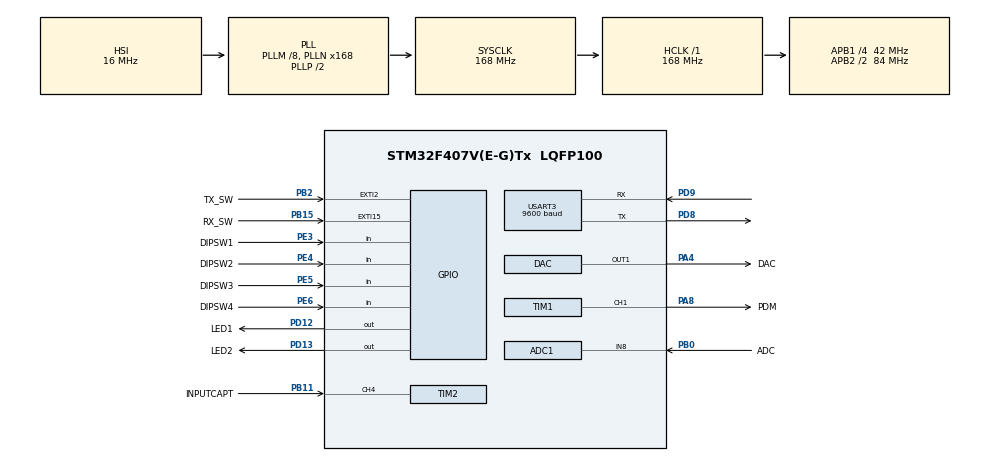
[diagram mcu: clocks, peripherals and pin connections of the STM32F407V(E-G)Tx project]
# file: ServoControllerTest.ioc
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ADC1.Channel-2\#ChannelRegularConversion=ADC_CHANNEL_8
ADC1.NbrOfConversionFlag=1
ADC1.Rank-2\#ChannelRegularConversion=1
ADC1.SamplingTime-2\#ChannelRegularConversion=ADC_SAMPLETIME_3CYCLES
ADC1.master=1
Mcu.Family=STM32F4
Mcu.Name=STM32F407V(E-G)Tx
Mcu.Package=LQFP100
NVIC.EXTI15_10_IRQn=true\:0\:0\:false\:false\:true\:true\:true
NVIC.EXTI2_IRQn=true\:0\:0\:false\:false\:true\:true\:true
NVIC.PriorityGroup=NVIC_PRIORITYGROUP_4
NVIC.TIM2_IRQn=true\:0\:0\:false\:false\:true\:true\:true
NVIC.USART3_IRQn=true\:0\:0\:false\:false\:true\:true\:true
PA13.Mode=Serial_Wire
PA13.Signal=SYS_JTMS-SWDIO
PA14.Mode=Serial_Wire
PA14.Signal=SYS_JTCK-SWCLK
PA4.GPIO_Label=DAC
PA4.Signal=COMP_DAC1_group
PA8.GPIO_Label=PDM
PA8.Signal=S_TIM1_CH1
PB0.GPIO_Label=ADC
PB0.Signal=ADCx_IN8
PB11.GPIO_Label=INPUTCAPT
PB11.Signal=S_TIM2_CH4
PB15.GPIO_Label=RX_SW
PB15.Signal=GPXTI15
PB2.GPIO_Label=TX_SW
PB2.Signal=GPXTI2
PD12.GPIO_Label=LED1
PD12.Signal=GPIO_Output
PD13.GPIO_Label=LED2
PD13.Signal=GPIO_Output
PD8.Mode=Asynchronous
PD8.Signal=USART3_TX
PD9.Mode=Asynchronous
PD9.Signal=USART3_RX
PE3.GPIO_Label=DIPSW1
PE3.Signal=GPIO_Input
PE4.GPIO_Label=DIPSW2
PE4.Signal=GPIO_Input
PE5.GPIO_Label=DIPSW3
PE5.Signal=GPIO_Input
PE6.GPIO_Label=DIPSW4
PE6.Signal=GPIO_Input
ProjectManager.HeapSize=0x200
ProjectManager.StackSize=0x400
ProjectManager.TargetToolchain=MDK-ARM V5
RCC.48MHZClocksFreq_Value=84000000
RCC.AHBFreq_Value=168000000
RCC.APB1CLKDivider=RCC_HCLK_DIV4
RCC.APB1Freq_Value=42000000
RCC.APB1TimFreq_Value=84000000
RCC.APB2CLKDivider=RCC_HCLK_DIV2
RCC.APB2Freq_Value=84000000
RCC.APB2TimFreq_Value=168000000
RCC.CortexFreq_Value=168000000
RCC.HCLKFreq_Value=168000000
RCC.HSE_VALUE=25000000
RCC.HSI_VALUE=16000000
RCC.LSE_VALUE=32768
RCC.PLLM=8
RCC.PLLN=168
RCC.SYSCLKFreq_VALUE=168000000
RCC.SYSCLKSource=RCC_SYSCLKSOURCE_PLLCLK
RCC.VCOOutputFreq_Value=336000000
SH.ADCx_IN8.0=ADC1_IN8,IN8
SH.COMP_DAC1_group.0=DAC_OUT1,DAC_OUT1
SH.S_TIM1_CH1.0=TIM1_CH1,PWM Generation1 CH1
SH.S_TIM2_CH4.0=TIM2_CH4,Input_Capture4_from_TI4
TIM1.Channel-PWM\ Generation1\ CH1=TIM_CHANNEL_1
TIM1.Period=999
TIM1.Prescaler=84
TIM1.Pulse-PWM\ Generation1\ CH1=0
TIM2.AutoReloadPreload=TIM_AUTORELOAD_PRELOAD_ENABLE
TIM2.Channel-Input_Capture4_from_TI4=TIM_CHANNEL_4
TIM2.ICPolarity_CH4=TIM_INPUTCHANNELPOLARITY_RISING
TIM2.Period=65535
TIM2.Prescaler=42
USART3.BaudRate=9600
USART3.VirtualMode=VM_ASYNC
VP_TIM1_VS_ClockSourceINT.Mode=Internal
board=custom

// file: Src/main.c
/* USER CODE BEGIN Header */
/**
  ******************************************************************************
  * @file           : main.c
  * @brief          : Main program body
  ******************************************************************************
  * @attention
  *
  * <h2><center>&copy; Copyright (c) 2019 STMicroelectronics.
  * All rights reserved.</center></h2>
  *
  * This software component is licensed by ST under BSD 3-Clause license,
  * the "License"; You may not use this file except in compliance with the
  * License. You may obtain a copy of the License at:
  *                        opensource.org/licenses/BSD-3-Clause
  *
  ******************************************************************************
  */
/* USER CODE END Header */

#include "main.h"

/* USER CODE BEGIN Includes */
#include <stdio.h>
#include <string.h>
#include "stm32f4xx_it.h"
/* USER CODE END Includes */

/* USER CODE BEGIN PM */
uint16_t Value;
char RX[100];
int RX_Complete=0;
int RX_Index=0;
int RX_Button=0;

		char txt[] = "Hello, World";
		char empty[]="            ";
    char Buffer[20];
/* USER CODE END PM */

ADC_HandleTypeDef hadc1;

DAC_HandleTypeDef hdac;

TIM_HandleTypeDef htim1;
TIM_HandleTypeDef htim2;

UART_HandleTypeDef huart3;

void SystemClock_Config(void);
static void MX_GPIO_Init(void);
static void MX_TIM1_Init(void);
static void MX_TIM2_Init(void);
static void MX_ADC1_Init(void);
static void MX_DAC_Init(void);
static void MX_USART3_UART_Init(void);

/* USER CODE BEGIN 0 */

int fputc(int ch, FILE *f)
{
  return ITM_SendChar(ch);
}

void UART_TX(char msg[]){
	HAL_UART_Transmit_IT(&huart3, msg, strlen(msg));
}
void UART_receive(int state){
			if(state){
						 HAL_UART_Receive_IT(&huart3, Buffer, strlen(txt));   //if(RX_Button==0) {HAL_UART_AbortTransmit_IT(&huart3);	RX_Button=1; for(i=0;i<20;i++) Buffer[i]=' ';}

			} else{	HAL_UART_AbortReceive_IT(&huart3);}
		}
int readADC(int state){
	switch (state){
		case 1:
				HAL_ADC_Start(&hadc1);
			while(HAL_ADC_PollForConversion(&hadc1, 1000));
      uint16_t analogVal = HAL_ADC_GetValue(&hadc1);
      printf("ADC: %d  (~%f V)\n", analogVal, (float)analogVal/4095.0*3.3);
			return analogVal;
		break;
		case 0:
	  default:
		HAL_ADC_Stop(&hadc1);
		return 0;
		break;
	}
}

void sendDAC(int state, int value){
	if(state){
			HAL_DAC_SetValue(&hdac, DAC_CHANNEL_1, DAC_ALIGN_12B_R, value);
			HAL_DAC_Start(&hdac, DAC_CHANNEL_1);}
	else{
	  	HAL_DAC_Stop(&hdac, DAC_CHANNEL_1);
	}
}

int pulseWidthRead(int state){
	 if(state){
			__TIM2_CLK_ENABLE();
			printf("\nInput Period: %d us\n", Value);
			return Value;
		} else{
			__TIM2_CLK_DISABLE();
			return 0;
		}
}
		void sendPDM(int state, uint16_t period, int duty){
			if(state){
				__TIM1_CLK_ENABLE();
				__HAL_TIM_SET_AUTORELOAD(&htim1, period);
        __HAL_TIM_SET_COMPARE(&htim1, TIM_CHANNEL_1, period*duty/100.0); //50% Duty
			} else {__TIM1_CLK_DISABLE();}
		}
/* USER CODE END 0 */

int main(void)
{

  /* MCU Configuration--------------------------------------------------------*/

  /* Reset of all peripherals, Initializes the Flash interface and the Systick. */
  HAL_Init();

  /* Configure the system clock */
  SystemClock_Config();

  /* Initialize all configured peripherals */
  MX_GPIO_Init();
  MX_TIM1_Init();
  MX_TIM2_Init();
  MX_ADC1_Init();
  MX_DAC_Init();
  MX_USART3_UART_Init();
  /* USER CODE BEGIN 2 */

  HAL_TIM_Base_Start(&htim1);
  HAL_TIM_PWM_Start(&htim1,TIM_CHANNEL_1);
  HAL_TIM_Base_Start(&htim2);
  HAL_TIM_IC_Start_IT(&htim2, TIM_CHANNEL_4);
		HAL_GPIO_WritePin(LED2_GPIO_Port, LED2_Pin, GPIO_PIN_SET);
	HAL_GPIO_WritePin(LED1_GPIO_Port, LED1_Pin, GPIO_PIN_SET);
  /* USER CODE END 2 */

  /* Infinite loop */
  while (1)
  {

    /* USER CODE BEGIN 3 */
		int i;
    HAL_Delay(700);
		printf("\n---------------\n%s%s%s%s%s%s\n",PDM_SW()?"| PDM ":"",PULSE_WIDTH_SW()?"| PWIDTH ":"", DAC_SW()?"| DAC ":"", ADC_SW()?"| ADC ":"",TX_SW_State()?"| TX ":"", RX_SW_State()?"| RX ":"");

		//PDM - PA8 - DIPSW1
			sendPDM(PDM_SW(),3998, 50); //3998=500Hz, 50% duty

		//InputCapt - PB11 - DIPSW2
			pulseWidthRead(PULSE_WIDTH_SW());  //returns microseconds value
			Value = 0; //reset reading

		//DAC - PA4 - DIPSW3
			sendDAC(DAC_SW(), 1861);  // 1.5/3.3*(2^12-1)

		//ADC - PB0 - DIPSW4
			readADC(ADC_SW()); //return analog Value

		//RX - - Button 2
		UART_receive(RX_SW_State());

		HAL_Delay(200);

		//TX - PD8 - Button 1
			UART_TX(TX_SW_State()?txt:empty);

		HAL_Delay(300);
		printf("TX: %s\tRX: %s (%d)\n", TX_SW_State()?txt:" ", RX_SW_State()&&TX_SW_State()?Buffer:" ",RX_SW_State()&&TX_SW_State()?strlen(Buffer):0);
		//for(i=0;i<20;i++) Buffer[i]='\0';

		/* char txt[] = "Hello, World\n";
    UART_TX(txt);
    HAL_UART_Receive_IT(&huart3, Buffer, 1);
    printf("Text: TX:%s", txt);
		printf("\nRX(%d/%d): %s / %s",RX_Index, RX_Complete, Buffer, RX);
		if(RX_Complete){
			printf("\tRX=");
			for(i=0;i<=RX_Index;i++){
				printf("%s", RX[i]);
			}
		}*/

  }
  /* USER CODE END 3 */
}

void SystemClock_Config(void)
{
  RCC_OscInitTypeDef RCC_OscInitStruct = {0};
  RCC_ClkInitTypeDef RCC_ClkInitStruct = {0};

  /** Configure the main internal regulator output voltage
  */
  __HAL_RCC_PWR_CLK_ENABLE();
  __HAL_PWR_VOLTAGESCALING_CONFIG(PWR_REGULATOR_VOLTAGE_SCALE1);
  /** Initializes the CPU, AHB and APB busses clocks
  */
  RCC_OscInitStruct.OscillatorType = RCC_OSCILLATORTYPE_HSI;
  RCC_OscInitStruct.HSIState = RCC_HSI_ON;
  RCC_OscInitStruct.HSICalibrationValue = RCC_HSICALIBRATION_DEFAULT;
  RCC_OscInitStruct.PLL.PLLState = RCC_PLL_ON;
  RCC_OscInitStruct.PLL.PLLSource = RCC_PLLSOURCE_HSI;
  RCC_OscInitStruct.PLL.PLLM = 8;
  RCC_OscInitStruct.PLL.PLLN = 168;
  RCC_OscInitStruct.PLL.PLLP = RCC_PLLP_DIV2;
  RCC_OscInitStruct.PLL.PLLQ = 4;
  if (HAL_RCC_OscConfig(&RCC_OscInitStruct) != HAL_OK)
  {
    Error_Handler();
  }
  /** Initializes the CPU, AHB and APB busses clocks
  */
  RCC_ClkInitStruct.ClockType = RCC_CLOCKTYPE_HCLK|RCC_CLOCKTYPE_SYSCLK
                              |RCC_CLOCKTYPE_PCLK1|RCC_CLOCKTYPE_PCLK2;
  RCC_ClkInitStruct.SYSCLKSource = RCC_SYSCLKSOURCE_PLLCLK;
  RCC_ClkInitStruct.AHBCLKDivider = RCC_SYSCLK_DIV1;
  RCC_ClkInitStruct.APB1CLKDivider = RCC_HCLK_DIV4;
  RCC_ClkInitStruct.APB2CLKDivider = RCC_HCLK_DIV2;

  if (HAL_RCC_ClockConfig(&RCC_ClkInitStruct, FLASH_LATENCY_5) != HAL_OK)
  {
    Error_Handler();
  }
}

static void MX_ADC1_Init(void)
{

  ADC_ChannelConfTypeDef sConfig = {0};

  /** Configure the global features of the ADC (Clock, Resolution, Data Alignment and number of conversion)
  */
  hadc1.Instance = ADC1;
  hadc1.Init.ClockPrescaler = ADC_CLOCK_SYNC_PCLK_DIV4;
  hadc1.Init.Resolution = ADC_RESOLUTION_12B;
  hadc1.Init.ScanConvMode = DISABLE;
  hadc1.Init.ContinuousConvMode = DISABLE;
  hadc1.Init.DiscontinuousConvMode = DISABLE;
  hadc1.Init.ExternalTrigConvEdge = ADC_EXTERNALTRIGCONVEDGE_NONE;
  hadc1.Init.ExternalTrigConv = ADC_SOFTWARE_START;
  hadc1.Init.DataAlign = ADC_DATAALIGN_RIGHT;
  hadc1.Init.NbrOfConversion = 1;
  hadc1.Init.DMAContinuousRequests = DISABLE;
  hadc1.Init.EOCSelection = ADC_EOC_SINGLE_CONV;
  if (HAL_ADC_Init(&hadc1) != HAL_OK)
  {
    Error_Handler();
  }
  /** Configure for the selected ADC regular channel its corresponding rank in the sequencer and its sample time.
  */
  sConfig.Channel = ADC_CHANNEL_8;
  sConfig.Rank = 1;
  sConfig.SamplingTime = ADC_SAMPLETIME_3CYCLES;
  if (HAL_ADC_ConfigChannel(&hadc1, &sConfig) != HAL_OK)
  {
    Error_Handler();
  }

}

static void MX_DAC_Init(void)
{

  DAC_ChannelConfTypeDef sConfig = {0};

  /** DAC Initialization
  */
  hdac.Instance = DAC;
  if (HAL_DAC_Init(&hdac) != HAL_OK)
  {
    Error_Handler();
  }
  /** DAC channel OUT1 config
  */
  sConfig.DAC_Trigger = DAC_TRIGGER_NONE;
  sConfig.DAC_OutputBuffer = DAC_OUTPUTBUFFER_ENABLE;
  if (HAL_DAC_ConfigChannel(&hdac, &sConfig, DAC_CHANNEL_1) != HAL_OK)
  {
    Error_Handler();
  }

}

static void MX_TIM1_Init(void)
{

  TIM_ClockConfigTypeDef sClockSourceConfig = {0};
  TIM_MasterConfigTypeDef sMasterConfig = {0};
  TIM_OC_InitTypeDef sConfigOC = {0};
  TIM_BreakDeadTimeConfigTypeDef sBreakDeadTimeConfig = {0};

  htim1.Instance = TIM1;
  htim1.Init.Prescaler = 84;
  htim1.Init.CounterMode = TIM_COUNTERMODE_UP;
  htim1.Init.Period = 999;
  htim1.Init.ClockDivision = TIM_CLOCKDIVISION_DIV1;
  htim1.Init.RepetitionCounter = 0;
  htim1.Init.AutoReloadPreload = TIM_AUTORELOAD_PRELOAD_DISABLE;
  if (HAL_TIM_Base_Init(&htim1) != HAL_OK)
  {
    Error_Handler();
  }
  sClockSourceConfig.ClockSource = TIM_CLOCKSOURCE_INTERNAL;
  if (HAL_TIM_ConfigClockSource(&htim1, &sClockSourceConfig) != HAL_OK)
  {
    Error_Handler();
  }
  if (HAL_TIM_PWM_Init(&htim1) != HAL_OK)
  {
    Error_Handler();
  }
  sMasterConfig.MasterOutputTrigger = TIM_TRGO_RESET;
  sMasterConfig.MasterSlaveMode = TIM_MASTERSLAVEMODE_DISABLE;
  if (HAL_TIMEx_MasterConfigSynchronization(&htim1, &sMasterConfig) != HAL_OK)
  {
    Error_Handler();
  }
  sConfigOC.OCMode = TIM_OCMODE_PWM1;
  sConfigOC.Pulse = 0;
  sConfigOC.OCPolarity = TIM_OCPOLARITY_HIGH;
  sConfigOC.OCNPolarity = TIM_OCNPOLARITY_HIGH;
  sConfigOC.OCFastMode = TIM_OCFAST_DISABLE;
  sConfigOC.OCIdleState = TIM_OCIDLESTATE_RESET;
  sConfigOC.OCNIdleState = TIM_OCNIDLESTATE_RESET;
  if (HAL_TIM_PWM_ConfigChannel(&htim1, &sConfigOC, TIM_CHANNEL_1) != HAL_OK)
  {
    Error_Handler();
  }
  sBreakDeadTimeConfig.OffStateRunMode = TIM_OSSR_DISABLE;
  sBreakDeadTimeConfig.OffStateIDLEMode = TIM_OSSI_DISABLE;
  sBreakDeadTimeConfig.LockLevel = TIM_LOCKLEVEL_OFF;
  sBreakDeadTimeConfig.DeadTime = 0;
  sBreakDeadTimeConfig.BreakState = TIM_BREAK_DISABLE;
  sBreakDeadTimeConfig.BreakPolarity = TIM_BREAKPOLARITY_HIGH;
  sBreakDeadTimeConfig.AutomaticOutput = TIM_AUTOMATICOUTPUT_DISABLE;
  if (HAL_TIMEx_ConfigBreakDeadTime(&htim1, &sBreakDeadTimeConfig) != HAL_OK)
  {
    Error_Handler();
  }
  HAL_TIM_MspPostInit(&htim1);

}

static void MX_TIM2_Init(void)
{

  TIM_MasterConfigTypeDef sMasterConfig = {0};
  TIM_IC_InitTypeDef sConfigIC = {0};

  htim2.Instance = TIM2;
  htim2.Init.Prescaler = 42;
  htim2.Init.CounterMode = TIM_COUNTERMODE_UP;
  htim2.Init.Period = 65535;
  htim2.Init.ClockDivision = TIM_CLOCKDIVISION_DIV1;
  htim2.Init.AutoReloadPreload = TIM_AUTORELOAD_PRELOAD_ENABLE;
  if (HAL_TIM_IC_Init(&htim2) != HAL_OK)
  {
    Error_Handler();
  }
  sMasterConfig.MasterOutputTrigger = TIM_TRGO_RESET;
  sMasterConfig.MasterSlaveMode = TIM_MASTERSLAVEMODE_DISABLE;
  if (HAL_TIMEx_MasterConfigSynchronization(&htim2, &sMasterConfig) != HAL_OK)
  {
    Error_Handler();
  }
  sConfigIC.ICPolarity = TIM_INPUTCHANNELPOLARITY_RISING;
  sConfigIC.ICSelection = TIM_ICSELECTION_DIRECTTI;
  sConfigIC.ICPrescaler = TIM_ICPSC_DIV1;
  sConfigIC.ICFilter = 0;
  if (HAL_TIM_IC_ConfigChannel(&htim2, &sConfigIC, TIM_CHANNEL_4) != HAL_OK)
  {
    Error_Handler();
  }

}

static void MX_USART3_UART_Init(void)
{

  huart3.Instance = USART3;
  huart3.Init.BaudRate = 9600;
  huart3.Init.WordLength = UART_WORDLENGTH_8B;
  huart3.Init.StopBits = UART_STOPBITS_1;
  huart3.Init.Parity = UART_PARITY_NONE;
  huart3.Init.Mode = UART_MODE_TX_RX;
  huart3.Init.HwFlowCtl = UART_HWCONTROL_NONE;
  huart3.Init.OverSampling = UART_OVERSAMPLING_16;
  if (HAL_UART_Init(&huart3) != HAL_OK)
  {
    Error_Handler();
  }

}

static void MX_GPIO_Init(void)
{
  GPIO_InitTypeDef GPIO_InitStruct = {0};

  /* GPIO Ports Clock Enable */
  __HAL_RCC_GPIOE_CLK_ENABLE();
  __HAL_RCC_GPIOA_CLK_ENABLE();
  __HAL_RCC_GPIOB_CLK_ENABLE();
  __HAL_RCC_GPIOD_CLK_ENABLE();

  /*Configure GPIO pin Output Level */
  HAL_GPIO_WritePin(GPIOD, LED1_Pin|LED2_Pin, GPIO_PIN_RESET);

  /*Configure GPIO pins : DIPSW1_Pin DIPSW2_Pin DIPSW3_Pin DIPSW4_Pin */
  GPIO_InitStruct.Pin = DIPSW1_Pin|DIPSW2_Pin|DIPSW3_Pin|DIPSW4_Pin;
  GPIO_InitStruct.Mode = GPIO_MODE_INPUT;
  GPIO_InitStruct.Pull = GPIO_NOPULL;
  HAL_GPIO_Init(GPIOE, &GPIO_InitStruct);

  /*Configure GPIO pins : TX_SW_Pin RX_SW_Pin */
  GPIO_InitStruct.Pin = TX_SW_Pin|RX_SW_Pin;
  GPIO_InitStruct.Mode = GPIO_MODE_IT_RISING;
  GPIO_InitStruct.Pull = GPIO_NOPULL;
  HAL_GPIO_Init(GPIOB, &GPIO_InitStruct);

  /*Configure GPIO pins : LED1_Pin LED2_Pin */
  GPIO_InitStruct.Pin = LED1_Pin|LED2_Pin;
  GPIO_InitStruct.Mode = GPIO_MODE_OUTPUT_PP;
  GPIO_InitStruct.Pull = GPIO_NOPULL;
  GPIO_InitStruct.Speed = GPIO_SPEED_FREQ_LOW;
  HAL_GPIO_Init(GPIOD, &GPIO_InitStruct);

  /* EXTI interrupt init*/
  HAL_NVIC_SetPriority(EXTI2_IRQn, 0, 0);
  HAL_NVIC_EnableIRQ(EXTI2_IRQn);

  HAL_NVIC_SetPriority(EXTI15_10_IRQn, 0, 0);
  HAL_NVIC_EnableIRQ(EXTI15_10_IRQn);

}

/* USER CODE BEGIN 4 */
void HAL_TIM_IC_CaptureCallback (TIM_HandleTypeDef *htim)
{
  extern uint16_t Value;
  Value = __HAL_TIM_GetCompare(htim, TIM_CHANNEL_4)/2;
  //Value = HAL_TIM_ReadCapturedValue(htim, TIM_CHANNEL_4);
  __HAL_TIM_SetCounter(htim, 0);
}
void USART_RX(){
	printf("RECEIVE HAPENING");
	/*    uint8_t i;

        if (RX_Index==0) {for (i=0;i<100;i++) RX[i]=0;}   //clear Rx_Buffer before receiving new data

        if (Buffer[0]!='d') //if received data different from ascii 13 (enter)
            {
            RX[RX_Index++]=Buffer[0];    //add data to Rx_Buffer
            }
        else            //if received data = 13
            {
            RX_Index=0;
            RX_Complete=1;//transfer complete, data is ready to read
            }

*/

	/*if(RX_Complete){
		RX_Index=0;
	}
	if (Buffer[0]!='\0'){
		RX[RX_Index]=Buffer[0];
		RX_Index++;
	} else{
		RX_Complete=1;
	}*/
	HAL_UART_Receive_IT(&huart3, Buffer,12);
}

void HAL_USART_RxCpltCallback(UART_HandleTypeDef *huart)
{
	USART_RX();
}
/* USER CODE END 4 */

void Error_Handler(void)
{
}

/************************ (C) COPYRIGHT STMicroelectronics *****END OF FILE****/
